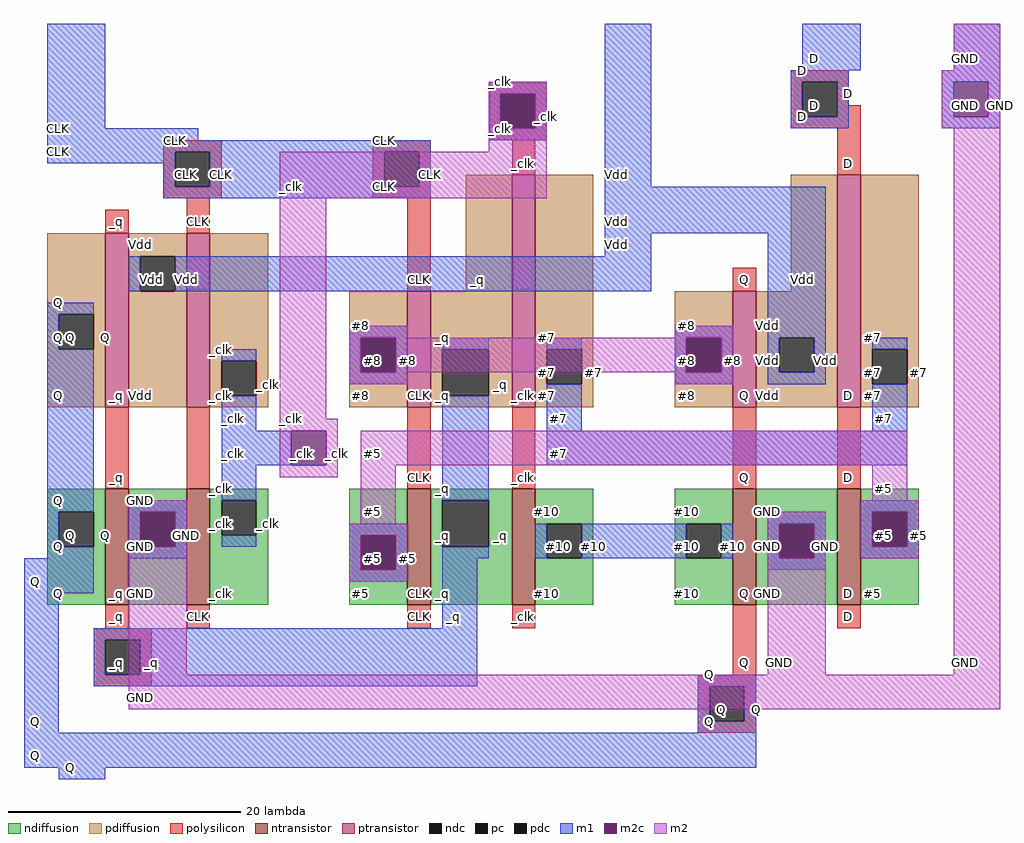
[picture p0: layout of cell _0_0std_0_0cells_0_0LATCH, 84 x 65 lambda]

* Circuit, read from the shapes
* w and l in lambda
.subckt _0_0std_0_0cells_0_0LATCH D CLK Q
M1 GND _q Q VSUBS nfet w=10 l=2
M2 _clk CLK GND VSUBS nfet w=10 l=2
M3 _q CLK #5 VSUBS nfet w=10 l=2
M4 #10 _clk _q VSUBS nfet w=10 l=2
M5 GND Q #10 VSUBS nfet w=10 l=2
M6 #5 D GND VSUBS nfet w=10 l=2
M7 Vdd _q Q NWELL pfet w=15 l=2
M8 _clk CLK Vdd NWELL pfet w=15 l=2
M9 _q CLK #8 NWELL pfet w=10 l=2
M10 #7 _clk _q NWELL pfet w=20 l=2
M11 Vdd Q #8 NWELL pfet w=10 l=2
M12 #7 D Vdd NWELL pfet w=20 l=2
.ends

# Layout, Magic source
magic
tech sky130l
<< ndiffusion >>
rect 8 26 13 28
rect 8 23 9 26
rect 12 23 13 26
rect 8 18 13 23
rect 15 26 20 28
rect 15 23 16 26
rect 19 23 20 26
rect 15 18 20 23
rect 22 27 27 28
rect 22 24 23 27
rect 26 24 27 27
rect 22 18 27 24
rect 34 24 39 28
rect 34 21 35 24
rect 38 21 39 24
rect 34 18 39 21
rect 41 27 48 28
rect 41 23 42 27
rect 46 23 48 27
rect 41 18 48 23
rect 50 25 55 28
rect 50 22 51 25
rect 54 22 55 25
rect 50 18 55 22
rect 62 25 67 28
rect 62 22 63 25
rect 66 22 67 25
rect 62 18 67 22
rect 69 25 76 28
rect 69 22 71 25
rect 74 22 76 25
rect 69 18 76 22
rect 78 26 83 28
rect 78 23 79 26
rect 82 23 83 26
rect 78 18 83 23
<< ndc >>
rect 9 23 12 26
rect 16 23 19 26
rect 23 24 26 27
rect 35 21 38 24
rect 42 23 46 27
rect 51 22 54 25
rect 63 22 66 25
rect 71 22 74 25
rect 79 23 82 26
<< ntransistor >>
rect 13 18 15 28
rect 20 18 22 28
rect 39 18 41 28
rect 48 18 50 28
rect 67 18 69 28
rect 76 18 78 28
<< pdiffusion >>
rect 8 43 13 50
rect 8 40 9 43
rect 12 40 13 43
rect 8 35 13 40
rect 15 48 20 50
rect 15 45 16 48
rect 19 45 20 48
rect 15 35 20 45
rect 22 39 27 50
rect 44 45 48 55
rect 22 36 23 39
rect 26 36 27 39
rect 22 35 27 36
rect 34 41 39 45
rect 34 38 35 41
rect 38 38 39 41
rect 34 35 39 38
rect 41 40 48 45
rect 41 36 42 40
rect 46 36 48 40
rect 41 35 48 36
rect 50 40 55 55
rect 72 45 76 55
rect 50 37 51 40
rect 54 37 55 40
rect 50 35 55 37
rect 62 41 67 45
rect 62 38 63 41
rect 66 38 67 41
rect 62 35 67 38
rect 69 41 76 45
rect 69 38 71 41
rect 74 38 76 41
rect 69 35 76 38
rect 78 40 83 55
rect 78 37 79 40
rect 82 37 83 40
rect 78 35 83 37
<< pdc >>
rect 9 40 12 43
rect 16 45 19 48
rect 23 36 26 39
rect 35 38 38 41
rect 42 36 46 40
rect 51 37 54 40
rect 63 38 66 41
rect 71 38 74 41
rect 79 37 82 40
<< ptransistor >>
rect 13 35 15 50
rect 20 35 22 50
rect 39 35 41 45
rect 48 35 50 55
rect 67 35 69 45
rect 76 35 78 55
<< polysilicon >>
rect 72 63 77 64
rect 46 62 51 63
rect 46 59 47 62
rect 50 59 51 62
rect 72 60 73 63
rect 76 61 77 63
rect 76 60 78 61
rect 72 59 78 60
rect 46 58 51 59
rect 18 57 23 58
rect 18 54 19 57
rect 22 54 23 57
rect 18 53 23 54
rect 36 57 41 58
rect 36 54 37 57
rect 40 54 41 57
rect 48 55 50 58
rect 76 55 78 59
rect 36 53 41 54
rect 13 50 15 52
rect 20 50 22 53
rect 39 45 41 53
rect 67 45 69 47
rect 13 28 15 35
rect 20 28 22 35
rect 39 28 41 35
rect 48 28 50 35
rect 67 28 69 35
rect 76 28 78 35
rect 13 16 15 18
rect 20 16 22 18
rect 39 16 41 18
rect 48 16 50 18
rect 12 15 17 16
rect 12 12 13 15
rect 16 12 17 15
rect 67 12 69 18
rect 76 16 78 18
rect 12 11 17 12
rect 64 11 69 12
rect 64 8 65 11
rect 68 8 69 11
rect 64 7 69 8
<< pc >>
rect 47 59 50 62
rect 73 60 76 63
rect 19 54 22 57
rect 37 54 40 57
rect 13 12 16 15
rect 65 8 68 11
<< m1 >>
rect 8 59 13 68
rect 46 62 51 63
rect 46 59 47 62
rect 50 59 51 62
rect 8 58 21 59
rect 46 58 51 59
rect 8 57 41 58
rect 8 56 19 57
rect 18 54 19 56
rect 22 54 37 57
rect 40 54 41 57
rect 18 53 41 54
rect 56 54 60 68
rect 73 64 78 68
rect 86 64 90 68
rect 72 63 77 64
rect 72 60 73 63
rect 76 60 77 63
rect 72 59 77 60
rect 85 63 90 64
rect 85 60 86 63
rect 89 60 90 63
rect 85 59 90 60
rect 56 50 75 54
rect 56 48 60 50
rect 15 45 16 48
rect 19 45 60 48
rect 8 43 12 44
rect 8 40 9 43
rect 34 41 39 42
rect 62 41 67 42
rect 8 26 12 40
rect 23 39 26 40
rect 34 38 35 41
rect 38 38 39 41
rect 34 37 39 38
rect 42 40 46 41
rect 23 33 26 36
rect 23 30 29 33
rect 23 27 26 30
rect 8 23 9 26
rect 8 22 12 23
rect 15 26 20 27
rect 15 23 16 26
rect 19 23 20 26
rect 42 27 46 36
rect 51 40 54 41
rect 62 38 63 41
rect 66 38 67 41
rect 62 37 67 38
rect 70 41 75 50
rect 70 38 71 41
rect 74 38 75 41
rect 70 37 75 38
rect 79 40 82 41
rect 51 33 54 37
rect 79 33 82 37
rect 51 30 82 33
rect 23 23 26 24
rect 34 24 39 25
rect 15 22 20 23
rect 6 19 12 22
rect 34 21 35 24
rect 38 21 39 24
rect 34 20 39 21
rect 78 26 83 27
rect 70 25 75 26
rect 42 22 46 23
rect 50 22 51 25
rect 54 22 63 25
rect 66 22 67 25
rect 70 22 71 25
rect 74 22 75 25
rect 78 23 79 26
rect 82 23 83 26
rect 78 22 83 23
rect 6 7 9 19
rect 42 16 45 22
rect 70 21 75 22
rect 12 15 45 16
rect 12 12 13 15
rect 16 12 45 15
rect 12 11 45 12
rect 64 11 69 12
rect 64 8 65 11
rect 68 8 69 11
rect 64 7 69 8
rect 6 4 69 7
rect 9 3 13 4
<< m2c >>
rect 47 59 50 62
rect 86 60 89 63
rect 35 38 38 41
rect 29 30 32 33
rect 16 23 19 26
rect 63 38 66 41
rect 35 21 38 24
rect 71 22 74 25
rect 79 23 82 26
<< m2 >>
rect 86 64 90 68
rect 85 63 90 64
rect 46 62 51 63
rect 46 59 47 62
rect 50 59 51 62
rect 85 60 86 63
rect 89 60 90 63
rect 85 59 90 60
rect 46 57 51 59
rect 28 53 51 57
rect 28 34 32 53
rect 34 41 39 42
rect 62 41 67 42
rect 34 38 35 41
rect 38 38 63 41
rect 66 38 67 41
rect 34 37 39 38
rect 62 37 67 38
rect 28 33 33 34
rect 28 30 29 33
rect 32 30 33 33
rect 28 29 33 30
rect 35 30 82 33
rect 15 26 20 27
rect 15 23 16 26
rect 19 23 20 26
rect 35 25 38 30
rect 79 27 82 30
rect 78 26 83 27
rect 70 25 75 26
rect 15 12 20 23
rect 34 24 39 25
rect 34 21 35 24
rect 38 21 39 24
rect 34 20 39 21
rect 70 22 71 25
rect 74 22 75 25
rect 78 23 79 26
rect 82 23 83 26
rect 78 22 83 23
rect 70 12 75 22
rect 86 12 90 59
rect 15 9 90 12
<< labels >>
rlabel pdiffusion 83 38 83 38 3 #7
rlabel polysilicon 77 29 77 29 3 D
rlabel polysilicon 77 62 77 62 3 D
rlabel ndiffusion 79 19 79 19 3 #5
rlabel pdiffusion 79 36 79 36 3 #7
rlabel pdiffusion 79 38 79 38 3 #7
rlabel pdiffusion 79 41 79 41 3 #7
rlabel polysilicon 77 56 77 56 3 D
rlabel ntransistor 77 19 77 19 3 D
rlabel ptransistor 77 36 77 36 3 D
rlabel pdiffusion 73 46 73 46 3 Vdd
rlabel ndiffusion 70 19 70 19 3 GND
rlabel ndiffusion 70 23 70 23 3 GND
rlabel ndiffusion 70 26 70 26 3 GND
rlabel ndiffusion 63 23 63 23 3 #10
rlabel pdiffusion 70 36 70 36 3 Vdd
rlabel pdiffusion 70 39 70 39 3 Vdd
rlabel pdiffusion 70 42 70 42 3 Vdd
rlabel ntransistor 68 19 68 19 3 Q
rlabel polysilicon 68 29 68 29 3 Q
rlabel ptransistor 68 36 68 36 3 Q
rlabel polysilicon 68 46 68 46 3 Q
rlabel ndiffusion 63 19 63 19 3 #10
rlabel ndiffusion 63 26 63 26 3 #10
rlabel pdiffusion 63 36 63 36 3 #8
rlabel pdiffusion 55 38 55 38 3 #7
rlabel polysilicon 49 56 49 56 3 _clk
rlabel polysilicon 49 29 49 29 3 _clk
rlabel ndiffusion 51 19 51 19 3 #10
rlabel ndiffusion 51 26 51 26 3 #10
rlabel ndiffusion 47 24 47 24 3 _q
rlabel pdiffusion 51 36 51 36 3 #7
rlabel pdiffusion 51 38 51 38 3 #7
rlabel pdiffusion 51 41 51 41 3 #7
rlabel pdiffusion 47 37 47 37 3 _q
rlabel pdiffusion 45 46 45 46 3 _q
rlabel ntransistor 49 19 49 19 3 _clk
rlabel ptransistor 49 36 49 36 3 _clk
rlabel polysilicon 49 17 49 17 3 _clk
rlabel ndiffusion 42 19 42 19 3 _q
rlabel ndiffusion 42 24 42 24 3 _q
rlabel ndiffusion 42 28 42 28 3 _q
rlabel pdiffusion 42 36 42 36 3 _q
rlabel pdiffusion 42 37 42 37 3 _q
rlabel pdiffusion 42 41 42 41 3 _q
rlabel polysilicon 40 46 40 46 3 CLK
rlabel polysilicon 77 17 77 17 3 D
rlabel ntransistor 40 19 40 19 3 CLK
rlabel polysilicon 40 29 40 29 3 CLK
rlabel ptransistor 40 36 40 36 3 CLK
rlabel polysilicon 37 54 37 54 3 CLK
rlabel polysilicon 37 55 37 55 3 CLK
rlabel polysilicon 37 58 37 58 3 CLK
rlabel polysilicon 40 17 40 17 3 CLK
rlabel ndiffusion 35 19 35 19 3 #5
rlabel ndiffusion 27 25 27 25 3 _clk
rlabel pdiffusion 35 36 35 36 3 #8
rlabel pdiffusion 27 37 27 37 3 _clk
rlabel polysilicon 68 13 68 13 3 Q
rlabel polysilicon 21 17 21 17 3 CLK
rlabel ndiffusion 23 19 23 19 3 _clk
rlabel ndiffusion 23 25 23 25 3 _clk
rlabel ndiffusion 23 28 23 28 3 _clk
rlabel pdiffusion 23 36 23 36 3 _clk
rlabel pdiffusion 23 37 23 37 3 _clk
rlabel pdiffusion 23 40 23 40 3 _clk
rlabel polysilicon 21 51 21 51 3 CLK
rlabel ntransistor 21 19 21 19 3 CLK
rlabel polysilicon 21 29 21 29 3 CLK
rlabel ptransistor 21 36 21 36 3 CLK
rlabel polysilicon 19 58 19 58 3 CLK
rlabel polysilicon 14 17 14 17 3 _q
rlabel ndiffusion 16 19 16 19 3 GND
rlabel ndiffusion 13 24 13 24 3 Q
rlabel pdiffusion 16 36 16 36 3 Vdd
rlabel pdiffusion 16 49 16 49 3 Vdd
rlabel pdiffusion 13 41 13 41 3 Q
rlabel ntransistor 14 19 14 19 3 _q
rlabel polysilicon 14 29 14 29 3 _q
rlabel ptransistor 14 36 14 36 3 _q
rlabel polysilicon 14 51 14 51 3 _q
rlabel ndiffusion 9 19 9 19 3 Q
rlabel pdiffusion 9 36 9 36 3 Q
rlabel m1 80 41 80 41 3 #7
rlabel m1 77 61 77 61 3 D
port 1 e
rlabel pc 74 61 74 61 3 D
port 1 e
rlabel m1 74 65 74 65 3 D
port 1 e
rlabel m1 75 39 75 39 3 Vdd
rlabel m1 73 60 73 60 3 D
port 1 e
rlabel m1 73 61 73 61 3 D
port 1 e
rlabel m1 73 64 73 64 3 D
port 1 e
rlabel m1 80 34 80 34 3 #7
rlabel pdc 72 39 72 39 3 Vdd
rlabel pdc 80 38 80 38 3 #7
rlabel m1 71 39 71 39 3 Vdd
rlabel m1 71 38 71 38 3 Vdd
rlabel m1 71 42 71 42 3 Vdd
rlabel m1 57 49 57 49 3 Vdd
rlabel m1 57 51 57 51 3 Vdd
rlabel m1 57 55 57 55 3 Vdd
rlabel m1 63 39 63 39 3 #8
rlabel m1 67 23 67 23 3 #10
rlabel ndc 64 23 64 23 3 #10
rlabel m1 55 23 55 23 3 #10
rlabel m1 52 31 52 31 3 #7
rlabel m1 52 34 52 34 3 #7
rlabel pdc 52 38 52 38 3 #7
rlabel m1 52 41 52 41 3 #7
rlabel m1 47 59 47 59 3 _clk
rlabel ndc 52 23 52 23 3 #10
rlabel m1 43 41 43 41 3 _q
rlabel m1 51 23 51 23 3 #10
rlabel m1 43 28 43 28 3 _q
rlabel pdc 43 37 43 37 3 _q
rlabel m1 71 22 71 22 3 GND
rlabel m1 43 23 43 23 3 _q
rlabel ndc 43 24 43 24 3 _q
rlabel m1 41 55 41 55 3 CLK
port 2 e
rlabel pc 38 55 38 55 3 CLK
port 2 e
rlabel m1 69 9 69 9 3 Q
port 3 e
rlabel m1 43 17 43 17 3 _q
rlabel m1 24 24 24 24 3 _clk
rlabel ndc 24 25 24 25 3 _clk
rlabel m1 23 55 23 55 3 CLK
port 2 e
rlabel pc 66 9 66 9 3 Q
port 3 e
rlabel pc 20 55 20 55 3 CLK
port 2 e
rlabel m1 65 8 65 8 3 Q
port 3 e
rlabel m1 65 9 65 9 3 Q
port 3 e
rlabel m1 24 28 24 28 3 _clk
rlabel m1 24 31 24 31 3 _clk
rlabel m1 24 34 24 34 3 _clk
rlabel pdc 24 37 24 37 3 _clk
rlabel m1 24 40 24 40 3 _clk
rlabel m1 20 46 20 46 3 Vdd
rlabel m1 19 54 19 54 3 CLK
port 2 e
rlabel m1 19 55 19 55 3 CLK
port 2 e
rlabel pdc 17 46 17 46 3 Vdd
rlabel m1 65 12 65 12 3 Q
port 3 e
rlabel m1 17 13 17 13 3 _q
rlabel m1 16 23 16 23 3 GND
rlabel m1 16 46 16 46 3 Vdd
rlabel pc 14 13 14 13 3 _q
rlabel m1 10 4 10 4 3 Q
port 3 e
rlabel m1 13 12 13 12 3 _q
rlabel m1 13 13 13 13 3 _q
rlabel m1 13 16 13 16 3 _q
rlabel ndc 10 24 10 24 3 Q
port 3 e
rlabel pdc 10 41 10 41 3 Q
port 3 e
rlabel m1 9 23 9 23 3 Q
port 3 e
rlabel m1 9 24 9 24 3 Q
port 3 e
rlabel m1 9 27 9 27 3 Q
port 3 e
rlabel m1 9 41 9 41 3 Q
port 3 e
rlabel m1 9 44 9 44 3 Q
port 3 e
rlabel m1 9 57 9 57 3 CLK
port 2 e
rlabel m1 9 58 9 58 3 CLK
port 2 e
rlabel m1 9 59 9 59 3 CLK
port 2 e
rlabel m1 9 60 9 60 3 CLK
port 2 e
rlabel m1 7 5 7 5 3 Q
port 3 e
rlabel m1 7 8 7 8 3 Q
port 3 e
rlabel m1 7 20 7 20 3 Q
port 3 e
rlabel m2 83 24 83 24 3 #5
rlabel m2c 80 24 80 24 3 #5
rlabel m2 90 61 90 61 3 GND
rlabel m2 79 23 79 23 3 #5
rlabel m2 79 24 79 24 3 #5
rlabel m2c 87 61 87 61 3 GND
rlabel m2 80 28 80 28 3 #5
rlabel m2 86 60 86 60 3 GND
rlabel m2 86 61 86 61 3 GND
rlabel m2 87 13 87 13 3 GND
rlabel m2 75 23 75 23 3 GND
rlabel m2 79 27 79 27 3 #5
rlabel m2 63 38 63 38 3 #8
rlabel m2 87 65 87 65 3 GND
rlabel m2c 72 23 72 23 3 GND
rlabel m2 51 60 51 60 3 _clk
rlabel m2 86 64 86 64 3 GND
rlabel m2 71 13 71 13 3 GND
rlabel m2 71 23 71 23 3 GND
rlabel m2 71 26 71 26 3 GND
rlabel m2 67 39 67 39 3 #8
rlabel m2 63 42 63 42 3 #8
rlabel m2c 48 60 48 60 3 _clk
rlabel m2 36 31 36 31 3 #5
rlabel m2c 64 39 64 39 3 #8
rlabel m2 47 58 47 58 3 _clk
rlabel m2 47 60 47 60 3 _clk
rlabel m2 47 63 47 63 3 _clk
rlabel m2 39 39 39 39 3 #8
rlabel m2 39 22 39 22 3 #5
rlabel m2c 36 39 36 39 3 #8
rlabel m2c 36 22 36 22 3 #5
rlabel m2 36 26 36 26 3 #5
rlabel m2 33 31 33 31 3 _clk
rlabel m2 35 38 35 38 3 #8
rlabel m2 35 39 35 39 3 #8
rlabel m2 35 42 35 42 3 #8
rlabel m2 35 21 35 21 3 #5
rlabel m2 35 22 35 22 3 #5
rlabel m2 35 25 35 25 3 #5
rlabel m2c 30 31 30 31 3 _clk
rlabel m2 20 24 20 24 3 GND
rlabel m2 29 30 29 30 3 _clk
rlabel m2 29 31 29 31 3 _clk
rlabel m2 29 34 29 34 3 _clk
rlabel m2 29 35 29 35 3 _clk
rlabel m2 29 54 29 54 3 _clk
rlabel m2c 17 24 17 24 3 GND
rlabel m2 16 10 16 10 3 GND
rlabel m2 16 13 16 13 3 GND
rlabel m2 16 24 16 24 3 GND
rlabel m2 16 27 16 27 3 GND
<< end >>
